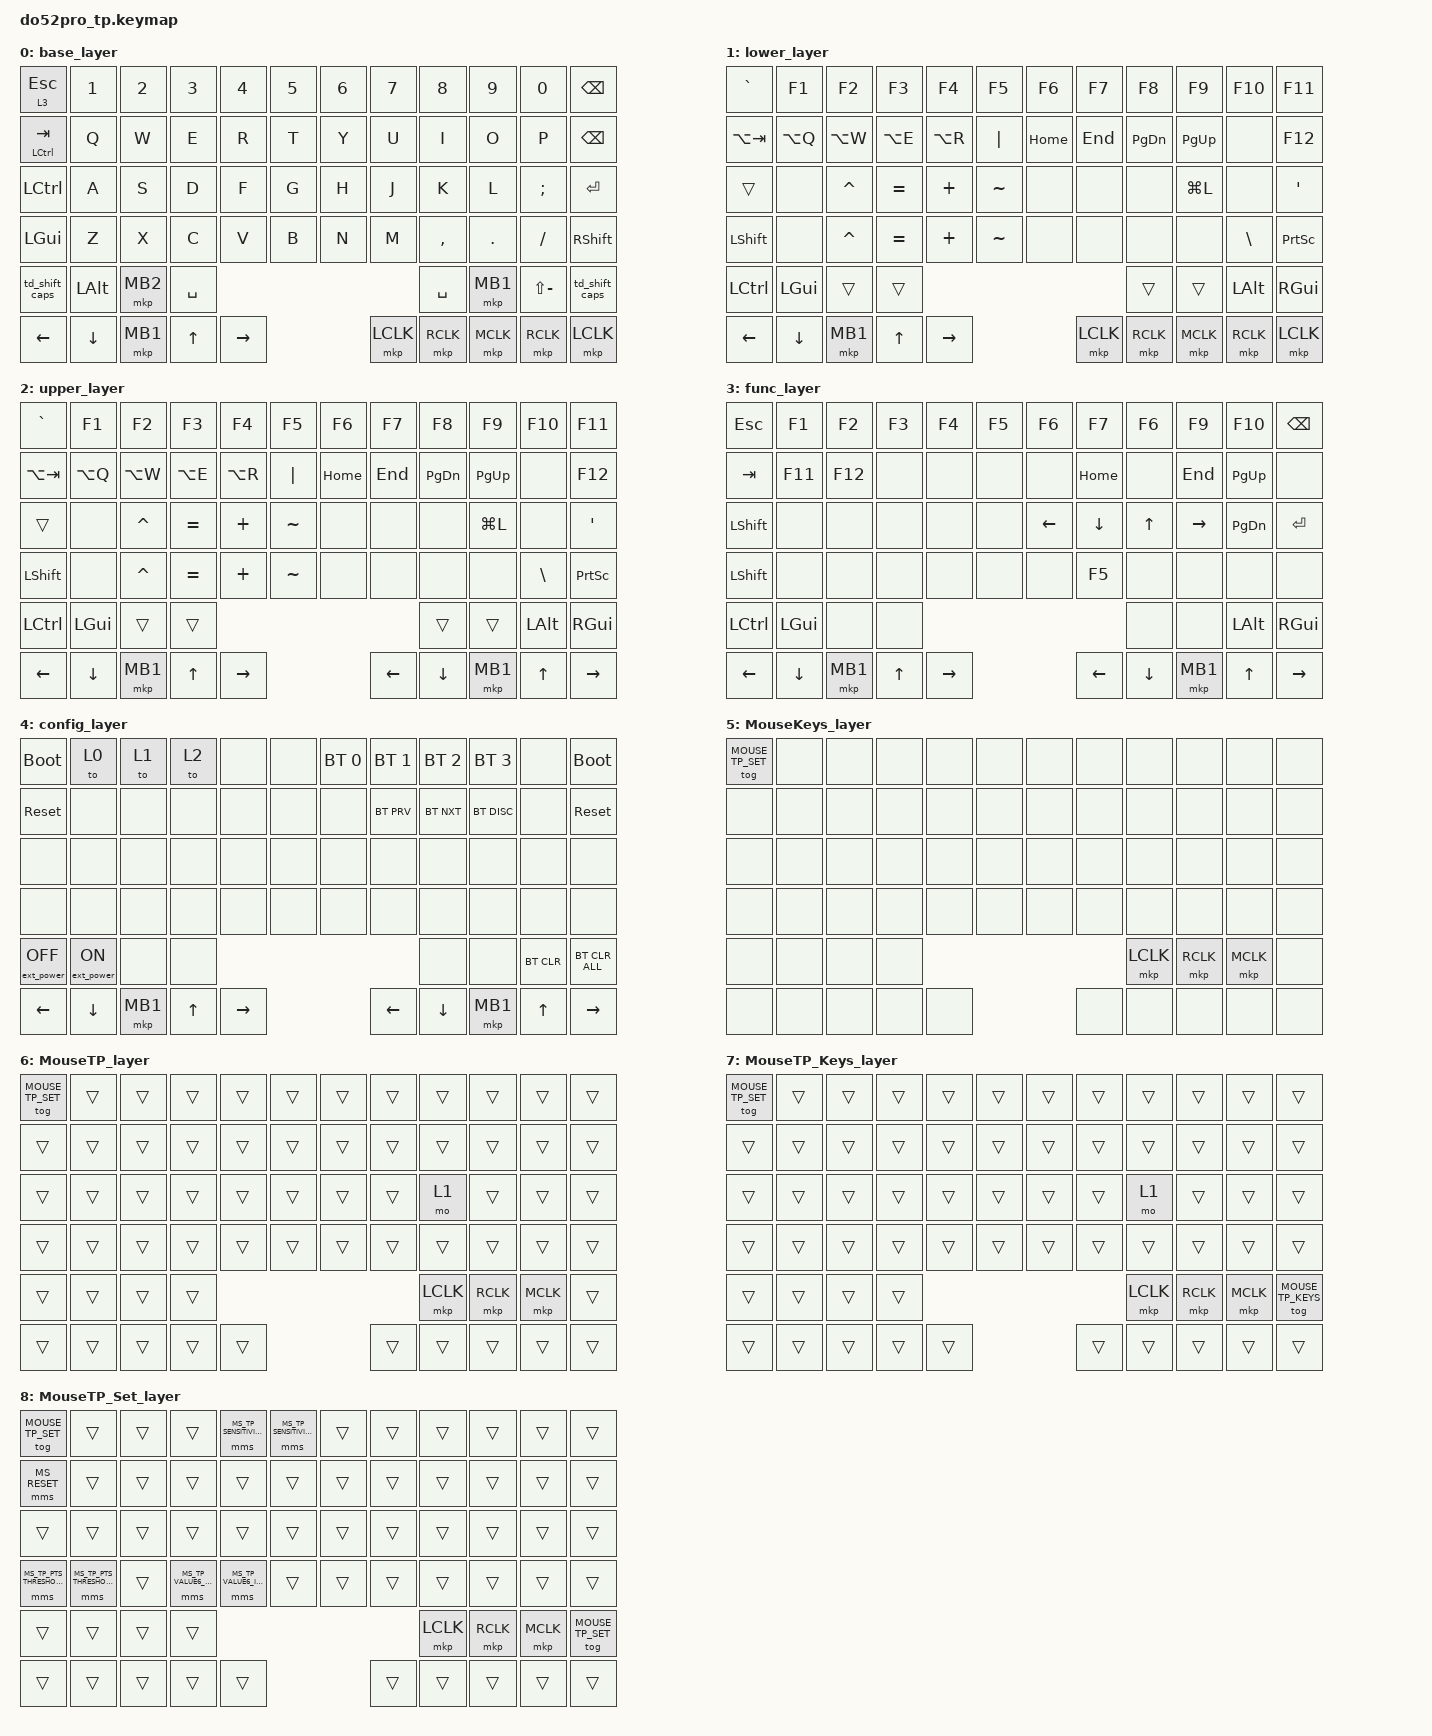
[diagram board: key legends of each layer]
#include <zephyr/dt-bindings/input/input-event-codes.h>

#define BASE 0
#define LOWER 1
#define UPPER 2
#define FUNC 3
#define CONF 4
#define MOUSE_KEYS 5
#define MOUSE_TP 6
#define MOUSE_TP_KEYS 7
#define MOUSE_TP_SET 8

#ifdef HAS_UROB

#define HAS_TRI_STATE
#define HAS_NUM_WORD

#endif

#define HAS_MOUSE_KEYS
#define HAS_MOUSE_TP
#define HAS_TRI_STATE

// ZMK includes
// Personal includes

#include "includes/mouse_keys.dtsi"
#include "includes/mouse_tp.dtsi"
#include "includes/mouse_tp_badjeff_input_listener.dtsi"
#include <behaviors.dtsi>
#include <dt-bindings/zmk/bt.h>
#include <dt-bindings/zmk/ext_power.h>
#include <dt-bindings/zmk/keys.h>
#include <dt-bindings/zmk/mouse.h>

/ {
    keymap {
        compatible = "zmk,keymap";

        base_layer {
            bindings = <
&lt 3 ESCAPE   &kp N1              &kp N2             &kp N3            &kp N4           &kp N5                     &kp N6     &kp N7    &kp N8      &kp N9   &kp N0         &kp BSPC
&mt LCTRL TAB  &kp Q               &kp W              &kp E             &kp R            &kp T                      &kp Y      &kp U     &kp I       &kp O    &kp P          &kp BSPC
&kp LCTRL      &kp A               &kp S              &kp D             &kp F            &kp G                      &kp H      &kp J     &kp K       &kp L    &kp SEMI       &kp ENTER
&kp LGUI       &kp Z               &kp X              &kp C             &kp V            &kp B                      &kp N      &kp M     &kp COMMA   &kp DOT  &kp FSLH       &kp RSHFT
&td_shift_caps      &kp LEFT_ALT                              &mkp MB2          &kp SPACE                  &kp SPACE  &mkp MB1                       &kp LS(MINUS)          &td_shift_caps
&kp LEFT_ARROW  &kp DOWN_ARROW &mkp MB1 &kp UP_ARROW    &kp RIGHT_ARROW                                                           &mkp LCLK  &mkp RCLK &mkp MCLK &mkp RCLK  &mkp LCLK 
            >;
        };

        lower_layer {
            bindings = <
&kp GRAVE    &kp F1      &kp F2        &kp F3     &kp F4        &kp F5      &kp F6      &kp F7        &kp F8         &kp F9        &kp F10        &kp F11
&kp LA(TAB)  &kp LA(Q)   &kp LA(W)     &kp LA(E)  &kp LA(R)     &kp PIPE    &kp HOME    &kp END       &kp PAGE_DOWN  &kp PAGE_UP   &none          &kp F12
&trans       &none       &kp CARET     &kp EQUAL  &kp PLUS      &kp TILDE   &none       &none         &none          &kp LG(L)     &none          &kp APOS
&kp LSHFT    &none       &kp CARET     &kp EQUAL  &kp PLUS      &kp TILDE   &none       &none         &none          &none         &kp BACKSLASH  &kp PRINTSCREEN
&kp LCTRL    &kp LGUI                             &trans        &trans      &trans      &trans                                     &kp LALT       &kp RGUI
&kp LEFT_ARROW  &kp DOWN_ARROW &mkp MB1 &kp UP_ARROW    &kp RIGHT_ARROW                                                          &mkp LCLK  &mkp RCLK &mkp MCLK &mkp RCLK  &mkp LCLK 
            >;
        };

        upper_layer {
            bindings = <
&kp GRAVE    &kp F1      &kp F2        &kp F3     &kp F4        &kp F5      &kp F6      &kp F7        &kp F8         &kp F9        &kp F10        &kp F11
&kp LA(TAB)  &kp LA(Q)   &kp LA(W)     &kp LA(E)  &kp LA(R)     &kp PIPE    &kp HOME    &kp END       &kp PAGE_DOWN  &kp PAGE_UP   &none          &kp F12
&trans       &none       &kp CARET     &kp EQUAL  &kp PLUS      &kp TILDE   &none       &none         &none          &kp LG(L)     &none          &kp APOS
&kp LSHFT    &none       &kp CARET     &kp EQUAL  &kp PLUS      &kp TILDE   &none       &none         &none          &none         &kp BACKSLASH  &kp PRINTSCREEN
&kp LCTRL    &kp LGUI                             &trans        &trans      &trans      &trans                                     &kp LALT       &kp RGUI
&kp LEFT_ARROW  &kp DOWN_ARROW &mkp MB1 &kp UP_ARROW    &kp RIGHT_ARROW                                                            &kp LEFT_ARROW  &kp DOWN_ARROW &mkp MB1 &kp UP_ARROW    &kp RIGHT_ARROW  
            >;
        };

        func_layer {
            bindings = <
&kp ESC    &kp F1    &kp F2   &kp F3  &kp F4  &kp F5            &kp F6           &kp F7            &kp F6            &kp F9                &kp F10               &kp BSPC
&kp TAB    &kp F11   &kp F12  &none   &none   &none             &none            &kp HOME          &none             &kp END               &kp PAGE_UP           &none
&kp LSHFT  &none     &none    &none   &none   &none             &kp LEFT_ARROW  &kp DOWN_ARROW     &kp UP_ARROW      &kp RIGHT_ARROW       &kp PAGE_DOWN         &kp ENTER
&kp LSHFT  &none     &none    &none   &none   &none             &none            &kp F5            &none             &none                 &none                 &none
&kp LCTRL  &kp LGUI                   &none   &none             &none            &none                                                     &kp LALT              &kp RGUI
           &kp LEFT_ARROW  &kp DOWN_ARROW &mkp MB1 &kp UP_ARROW    &kp RIGHT_ARROW                                                 &kp LEFT_ARROW  &kp DOWN_ARROW &mkp MB1 &kp UP_ARROW    &kp RIGHT_ARROW 
            >;
        };

        config_layer {
            bindings = <
&bootloader        &to 0             &to 1  &to 2  &none  &none  &bt BT_SEL 0  &bt BT_SEL 1  &bt BT_SEL 2  &bt BT_SEL 3  &none       &bootloader
&sys_reset              &none             &none  &none  &none  &none  &none         &bt BT_PRV    &bt BT_NXT    &bt BT_DISC   &none       &sys_reset
&none              &none             &none  &none  &none  &none  &none         &none         &none         &none         &none       &none
&none              &none             &none  &none  &none  &none  &none         &none         &none         &none         &none       &none
&ext_power EP_OFF  &ext_power EP_ON                &none  &none  &none         &none                                     &bt BT_CLR  &bt BT_CLR_ALL
                   &kp LEFT_ARROW  &kp DOWN_ARROW &mkp MB1 &kp UP_ARROW    &kp RIGHT_ARROW                                             &kp LEFT_ARROW  &kp DOWN_ARROW &mkp MB1 &kp UP_ARROW    &kp RIGHT_ARROW
            >;
        };

        MouseKeys_layer {
            bindings = <
&tog MOUSE_TP_SET  &none  &none  &none  &none  &none  &none      &none      &none  &none  &none      &none
&none              &none  &none  &none  &none  &none  &none      &none      &none  &none  &none      &none
&none              &none  &none  &none  &none  &none  &none      &none      &none  &none  &none      &none
&none              &none  &none  &none  &none  &none  &none      &none      &none  &none  &none      &none
&none              &none                &none  &none  &mkp LCLK  &mkp RCLK                &mkp MCLK  &none
                   &none  &none  &none  &none  &none  &none      &none      &none  &none  &none
            >;
        };

        MouseTP_layer {
            bindings = <
&tog MOUSE_TP_SET  &trans  &trans  &trans  &trans  &trans  &trans     &trans     &trans  &trans  &trans     &trans
&trans             &trans  &trans  &trans  &trans  &trans  &trans     &trans     &trans  &trans  &trans     &trans
&trans             &trans  &trans  &trans  &trans  &trans  &trans     &trans     &mo 1   &trans  &trans     &trans
&trans             &trans  &trans  &trans  &trans  &trans  &trans     &trans     &trans  &trans  &trans     &trans
&trans             &trans                  &trans  &trans  &mkp LCLK  &mkp RCLK &mkp MCLK  &trans
                   &trans  &trans  &trans  &trans  &trans  &trans     &trans     &trans  &trans  &trans
            >;
        };

        MouseTP_Keys_layer {
            bindings = <
&tog MOUSE_TP_SET  &trans  &trans  &trans  &trans  &trans  &trans     &trans     &trans  &trans  &trans     &trans
&trans             &trans  &trans  &trans  &trans  &trans  &trans     &trans     &trans  &trans  &trans     &trans
&trans             &trans  &trans  &trans  &trans  &trans  &trans     &trans     &mo 1   &trans  &trans     &trans
&trans             &trans  &trans  &trans  &trans  &trans  &trans     &trans     &trans  &trans  &trans     &trans
&trans             &trans                  &trans  &trans  &mkp LCLK  &mkp RCLK                  &mkp MCLK  &tog MOUSE_TP_KEYS
                   &trans  &trans  &trans  &trans  &trans  &trans     &trans     &trans  &trans  &trans
            >;
        };

        MouseTP_Set_layer {
            bindings = <
&tog MOUSE_TP_SET              &trans                         &trans  &trans                  &mms MS_TP_SENSITIVITY_DECR  &mms MS_TP_SENSITIVITY_INCR  &trans     &trans     &trans  &trans  &trans     &trans
&mms MS_RESET                  &trans                         &trans  &trans                  &trans                       &trans                       &trans     &trans     &trans  &trans  &trans     &trans
&trans                         &trans                         &trans  &trans                  &trans                       &trans                       &trans     &trans     &trans  &trans  &trans     &trans
&mms MS_TP_PTS_THRESHOLD_DECR  &mms MS_TP_PTS_THRESHOLD_INCR  &trans  &mms MS_TP_VALUE6_DECR  &mms MS_TP_VALUE6_INCR       &trans                       &trans     &trans     &trans  &trans  &trans     &trans
&trans                         &trans                                                         &trans                       &trans                       &mkp LCLK  &mkp RCLK                  &mkp MCLK  &tog MOUSE_TP_SET
                               &trans                         &trans  &trans                  &trans                       &trans                       &trans     &trans     &trans  &trans  &trans
            >;
        };
    };

    conditional_layers {
        compatible = "zmk,conditional-layers";

        conf {
            if-layers = <1 2>;
            then-layer = <4>;
        };
    };
};
/ {
    behaviors {
        td_shift_caps: tap_dance_0 {
            compatible = "zmk,behavior-tap-dance";
            #binding-cells = <0>;
            tapping-term-ms = <250>;
            bindings = <&kp LSHFT>, <&caps_word>;
        };
        td_MB1_MB2: tap_dance_1 {
            compatible = "zmk,behavior-tap-dance";
            #binding-cells = <0>;
            tapping-term-ms = <250>;
            bindings = <&mkp LCLK>, <&mkp RCLK>;
        };
    };

};
